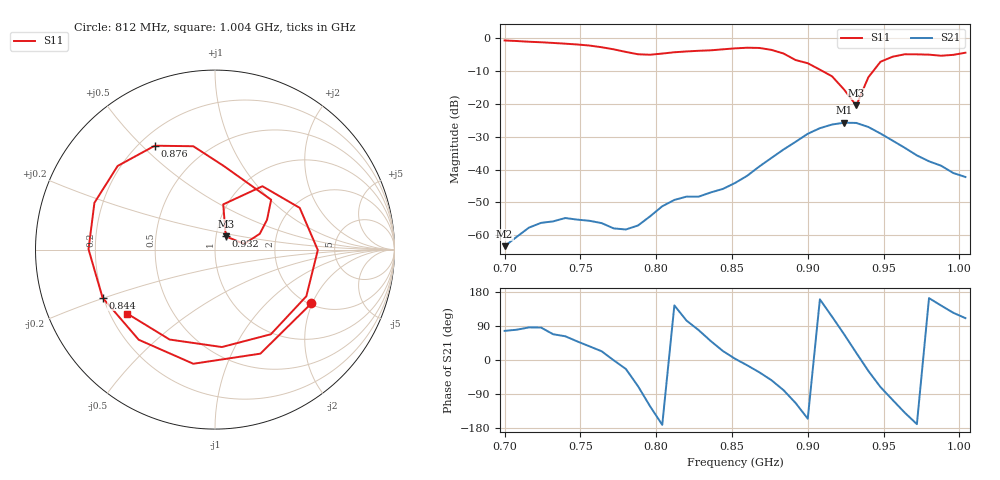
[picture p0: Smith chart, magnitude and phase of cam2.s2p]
# Hz S RI R 50
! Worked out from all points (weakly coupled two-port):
!   39 points, 700 MHz to 1.004 GHz, reference 50 ohm
!   highest |S21| = -25.69 dB at 924 MHz (marker M1); lowest = -63.3 dB at 700 MHz (marker M2)
!   lowest |S11| = -20.4 dB at 932 MHz (marker M3), VSWR 1.21, Z = 55.7 + j8.3 ohm
!   |S11| at or under -10 dB: 909.9 MHz to 943.1 MHz (33.22 MHz wide, 3.59 % of centre)
!   S12 and S22 are empty: the file has one direction only
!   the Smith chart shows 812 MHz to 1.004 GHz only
!   S11 on the Smith chart (normalised r, x): 812 MHz: 2.04, -1.97; 844 MHz: 0.20, -0.20; 876 MHz: 0.26, +0.55; 932 MHz: 1.11, +0.17; 1.004 GHz: 0.27, -0.30
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7e8  0.7674 0.5254  0.000155 0.000666  0 0  0 0
7.24e8  0.8316 -0.2652  0.000115 0.00154  0 0  0 0
7.4e8  0.4409 -0.7038  0.000843 0.00163  0 0  0 0
7.56e8  -0.1985 -0.752  0.00135 0.00098  0 0  0 0
7.72e8  -0.655 -0.1875  0.00127 -1.81e-05  0 0  0 0
7.8e8  -0.5775 0.2312  0.00112 -0.000493  0 0  0 0
7.88e8  -0.2227 0.528  0.000506 -0.00132  0 0  0 0
7.96e8  0.2551 0.5027  -0.00104 -0.00165  0 0  0 0
8.04e8  0.5689 0.146  -0.00274 -0.000428  0 0  0 0
8.12e8  0.5367 -0.3  -0.0028 0.00203  0 0  0 0
8.28e8  -0.1208 -0.636  0.000748 0.00381  0 0  0 0
8.44e8  -0.6266 -0.2678  0.00466 0.00205  0 0  0 0
8.52e8  -0.7047 0.00187  0.00626 0.000371  0 0  0 0
8.76e8  -0.3356 0.5788  0.00903 -0.0121  0 0  0 0
9e8  0.3128 0.2778  -0.0319 -0.0149  0 0  0 0
9.08e8  0.2899 0.1661  -0.0403 0.0146  0 0  0 0
9.24e8  0.1628 0.032  0.0196 0.0481  0 0  0 0
9.32e8  0.0598 0.0738  0.0487 0.0167  0 0  0 0
9.4e8  0.0459 0.252  0.0391 -0.0216  0 0  0 0
9.56e8  0.4721 0.2324  -0.00734 -0.0267  0 0  0 0
9.8e8  0.3112 -0.4716  -0.0128 0.00385  0 0  0 0
1.004e9  -0.4891 -0.3566  -0.00271 0.00725  0 0  0 0
